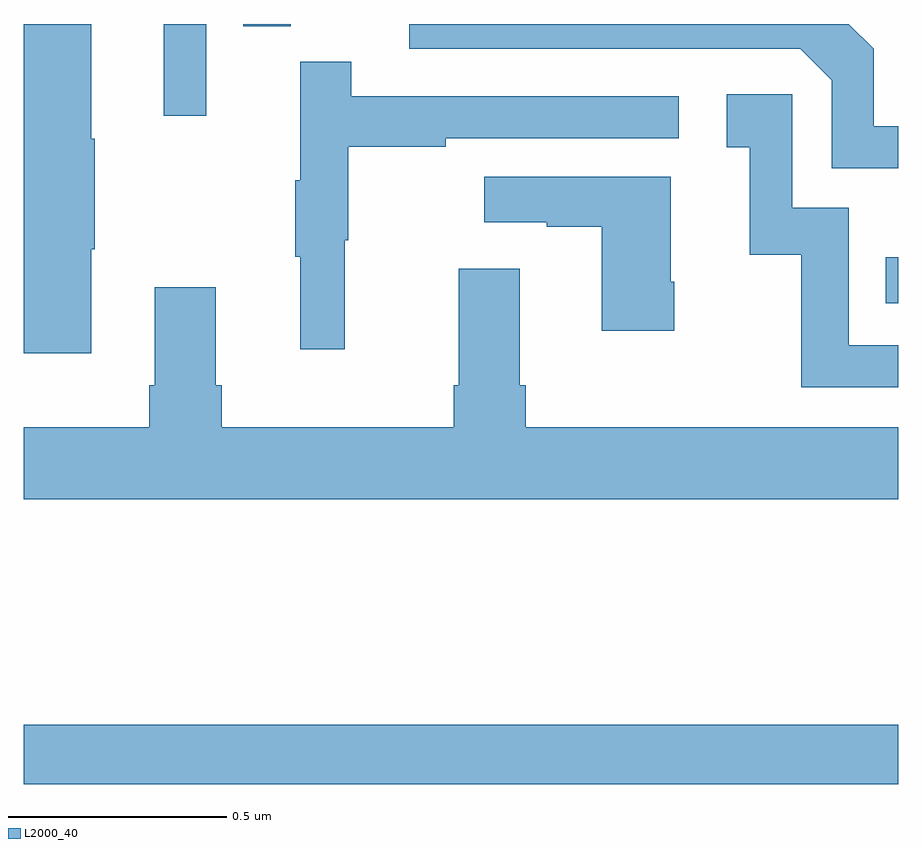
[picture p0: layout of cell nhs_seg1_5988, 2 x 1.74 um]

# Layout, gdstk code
import gdstk
lib = gdstk.Library(unit=1e-6, precision=1e-09)
def R(c, l, rs):  # rectangles x0, y0, x1, y1
    for r in rs: c.add(gdstk.rectangle(r[:2], r[2:], *l))
def P(c, l, *ps):  # polygons
    for p in ps: c.add(gdstk.Polygon(p, *l))
L2000_40 = (2000, 40)

nhs_seg1_5988 = lib.new_cell('nhs_seg1_5988')
R(nhs_seg1_5988, L2000_40, [(186,504.46,188,504.596), (187.972,505.56,188,505.665), (186.32,505.989,186.417,506.199), (186.502,506.194,186.61,506.199)])
P(nhs_seg1_5988, L2000_40, [(188,505.965),(187.944,505.965),(187.944,506.142),(187.887,506.199),(186.882,506.199),(186.882,506.142),(187.776,506.142),(187.848,506.07),(187.848,505.869),(188,505.869)],
  [(186.154,505.684),(186.162,505.684),(186.162,505.937),(186.154,505.937),(186.154,506.199),(186,506.199),(186,505.446),(186.154,505.446)],
  [(186.734,505.704),(186.742,505.704),(186.742,505.918),(186.965,505.918),(186.965,505.938),(187.498,505.938),(187.498,506.034),(186.749,506.034),(186.749,506.113),(186.632,506.113),(186.632,505.841),(186.621,505.841),(186.621,505.667),(186.632,505.667),(186.632,505.455),(186.734,505.455)],
  [(188,505.464),(187.887,505.464),(187.887,505.779),(187.758,505.779),(187.758,506.038),(187.608,506.038),(187.608,505.917),(187.661,505.917),(187.661,505.671),(187.779,505.671),(187.779,505.368),(188,505.368)],
  [(187.488,505.609),(187.48,505.609),(187.48,505.849),(187.053,505.849),(187.053,505.745),(187.196,505.745),(187.196,505.735),(187.322,505.735),(187.322,505.497),(187.488,505.497)],
  [(188,505.276),(187.148,505.276),(187.148,505.372),(187.135,505.372),(187.135,505.639),(186.995,505.639),(186.995,505.372),(186.983,505.372),(186.983,505.276),(186.452,505.276),(186.452,505.372),(186.439,505.372),(186.439,505.597),(186.299,505.597),(186.299,505.372),(186.287,505.372),(186.287,505.276),(186,505.276),(186,505.112),(188,505.112)])

lib.write_gds('nhs_seg1_5988.gds')
